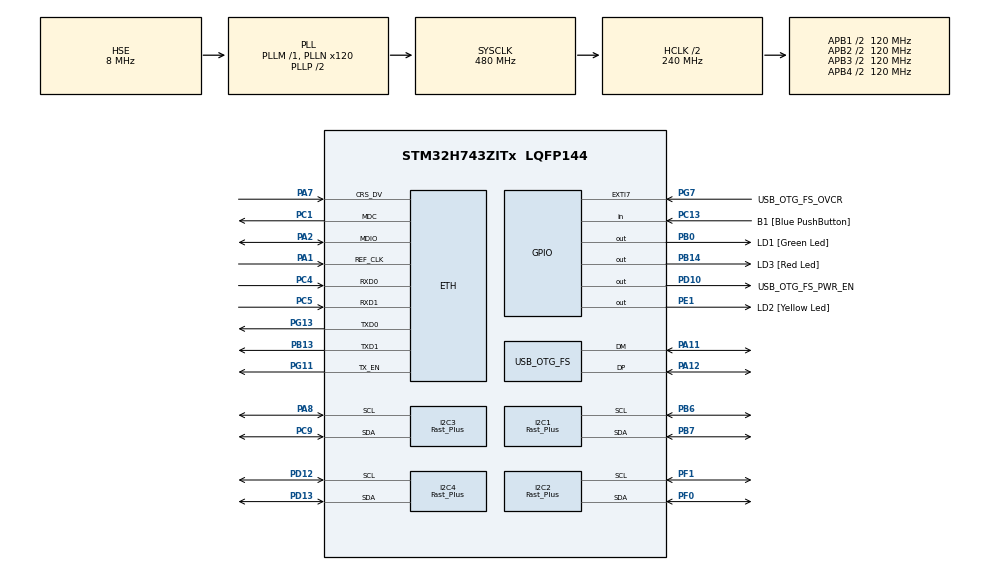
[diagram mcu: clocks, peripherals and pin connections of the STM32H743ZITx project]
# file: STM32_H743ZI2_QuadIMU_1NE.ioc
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Bdma.I2C4_RX.0.Direction=DMA_PERIPH_TO_MEMORY
Bdma.I2C4_RX.0.EventEnable=DISABLE
Bdma.I2C4_RX.0.Instance=BDMA_Channel0
Bdma.I2C4_RX.0.MemDataAlignment=DMA_MDATAALIGN_BYTE
Bdma.I2C4_RX.0.MemInc=DMA_MINC_ENABLE
Bdma.I2C4_RX.0.Mode=DMA_NORMAL
Bdma.I2C4_RX.0.PeriphDataAlignment=DMA_PDATAALIGN_BYTE
Bdma.I2C4_RX.0.PeriphInc=DMA_PINC_DISABLE
Bdma.I2C4_RX.0.Polarity=HAL_DMAMUX_REQ_GEN_RISING
Bdma.I2C4_RX.0.Priority=DMA_PRIORITY_VERY_HIGH
Bdma.I2C4_RX.0.RequestNumber=1
Bdma.I2C4_RX.0.SignalID=NONE
Bdma.I2C4_RX.0.SyncEnable=DISABLE
Bdma.I2C4_RX.0.SyncPolarity=HAL_DMAMUX_SYNC_NO_EVENT
Bdma.I2C4_RX.0.SyncRequestNumber=1
Bdma.I2C4_RX.0.SyncSignalID=NONE
Bdma.Request0=I2C4_RX
Bdma.RequestsNb=1
CORTEX_M7.AccessPermission-Cortex_Memory_Protection_Unit_Region0_Settings=MPU_REGION_FULL_ACCESS
CORTEX_M7.AccessPermission-Cortex_Memory_Protection_Unit_Region1_Settings=MPU_REGION_FULL_ACCESS
CORTEX_M7.BaseAddress-Cortex_Memory_Protection_Unit_Region0_Settings=0x30000000
CORTEX_M7.BaseAddress-Cortex_Memory_Protection_Unit_Region1_Settings=0x38000000
CORTEX_M7.CPU_DCache=Enabled
CORTEX_M7.CPU_ICache=Enabled
CORTEX_M7.DisableExec-Cortex_Memory_Protection_Unit_Region0_Settings=MPU_INSTRUCTION_ACCESS_DISABLE
CORTEX_M7.DisableExec-Cortex_Memory_Protection_Unit_Region1_Settings=MPU_INSTRUCTION_ACCESS_DISABLE
CORTEX_M7.Enable-Cortex_Memory_Protection_Unit_Region0_Settings=MPU_REGION_ENABLE
CORTEX_M7.Enable-Cortex_Memory_Protection_Unit_Region1_Settings=MPU_REGION_ENABLE
CORTEX_M7.IsShareable-Cortex_Memory_Protection_Unit_Region0_Settings=MPU_ACCESS_SHAREABLE
CORTEX_M7.IsShareable-Cortex_Memory_Protection_Unit_Region1_Settings=MPU_ACCESS_SHAREABLE
CORTEX_M7.MPU_Control=MPU_PRIVILEGED_DEFAULT
CORTEX_M7.Size-Cortex_Memory_Protection_Unit_Region0_Settings=MPU_REGION_SIZE_32KB
CORTEX_M7.Size-Cortex_Memory_Protection_Unit_Region1_Settings=MPU_REGION_SIZE_64KB
CORTEX_M7.TypeExtField-Cortex_Memory_Protection_Unit_Region0_Settings=MPU_TEX_LEVEL1
CORTEX_M7.TypeExtField-Cortex_Memory_Protection_Unit_Region1_Settings=MPU_TEX_LEVEL1
Dma.I2C1_RX.1.Direction=DMA_PERIPH_TO_MEMORY
Dma.I2C1_RX.1.EventEnable=DISABLE
Dma.I2C1_RX.1.FIFOMode=DMA_FIFOMODE_DISABLE
Dma.I2C1_RX.1.Instance=DMA1_Stream0
Dma.I2C1_RX.1.MemDataAlignment=DMA_MDATAALIGN_BYTE
Dma.I2C1_RX.1.MemInc=DMA_MINC_ENABLE
Dma.I2C1_RX.1.Mode=DMA_NORMAL
Dma.I2C1_RX.1.PeriphDataAlignment=DMA_PDATAALIGN_BYTE
Dma.I2C1_RX.1.PeriphInc=DMA_PINC_DISABLE
Dma.I2C1_RX.1.Polarity=HAL_DMAMUX_REQ_GEN_RISING
Dma.I2C1_RX.1.Priority=DMA_PRIORITY_VERY_HIGH
Dma.I2C1_RX.1.RequestNumber=1
Dma.I2C1_RX.1.SignalID=NONE
Dma.I2C1_RX.1.SyncEnable=DISABLE
Dma.I2C1_RX.1.SyncPolarity=HAL_DMAMUX_SYNC_NO_EVENT
Dma.I2C1_RX.1.SyncRequestNumber=1
Dma.I2C1_RX.1.SyncSignalID=NONE
Dma.I2C2_RX.0.Direction=DMA_PERIPH_TO_MEMORY
Dma.I2C2_RX.0.EventEnable=DISABLE
Dma.I2C2_RX.0.FIFOMode=DMA_FIFOMODE_DISABLE
Dma.I2C2_RX.0.Instance=DMA1_Stream3
Dma.I2C2_RX.0.MemDataAlignment=DMA_MDATAALIGN_BYTE
Dma.I2C2_RX.0.MemInc=DMA_MINC_ENABLE
Dma.I2C2_RX.0.Mode=DMA_NORMAL
Dma.I2C2_RX.0.PeriphDataAlignment=DMA_PDATAALIGN_BYTE
Dma.I2C2_RX.0.PeriphInc=DMA_PINC_DISABLE
Dma.I2C2_RX.0.Polarity=HAL_DMAMUX_REQ_GEN_RISING
Dma.I2C2_RX.0.Priority=DMA_PRIORITY_VERY_HIGH
Dma.I2C2_RX.0.RequestNumber=1
Dma.I2C2_RX.0.SignalID=NONE
Dma.I2C2_RX.0.SyncEnable=DISABLE
Dma.I2C2_RX.0.SyncPolarity=HAL_DMAMUX_SYNC_NO_EVENT
Dma.I2C2_RX.0.SyncRequestNumber=1
Dma.I2C2_RX.0.SyncSignalID=NONE
Dma.I2C3_RX.2.Direction=DMA_PERIPH_TO_MEMORY
Dma.I2C3_RX.2.EventEnable=DISABLE
Dma.I2C3_RX.2.FIFOMode=DMA_FIFOMODE_DISABLE
Dma.I2C3_RX.2.Instance=DMA2_Stream1
Dma.I2C3_RX.2.MemDataAlignment=DMA_MDATAALIGN_BYTE
Dma.I2C3_RX.2.MemInc=DMA_MINC_ENABLE
Dma.I2C3_RX.2.Mode=DMA_NORMAL
Dma.I2C3_RX.2.PeriphDataAlignment=DMA_PDATAALIGN_BYTE
Dma.I2C3_RX.2.PeriphInc=DMA_PINC_DISABLE
Dma.I2C3_RX.2.Polarity=HAL_DMAMUX_REQ_GEN_RISING
Dma.I2C3_RX.2.Priority=DMA_PRIORITY_VERY_HIGH
Dma.I2C3_RX.2.RequestNumber=1
Dma.I2C3_RX.2.SignalID=NONE
Dma.I2C3_RX.2.SyncEnable=DISABLE
Dma.I2C3_RX.2.SyncPolarity=HAL_DMAMUX_SYNC_NO_EVENT
Dma.I2C3_RX.2.SyncRequestNumber=1
Dma.I2C3_RX.2.SyncSignalID=NONE
Dma.Request0=I2C2_RX
Dma.Request1=I2C1_RX
Dma.Request2=I2C3_RX
ETH.MediaInterface=HAL_ETH_RMII_MODE
I2C1.CustomTiming=Disabled
I2C1.I2C_Speed_Mode=I2C_Fast_Plus
I2C1.Timing=0x0050174F
I2C2.I2C_Speed_Mode=I2C_Fast_Plus
I2C2.Timing=0x0050174F
I2C3.I2C_Speed_Mode=I2C_Fast_Plus
I2C3.Timing=0x0050174F
I2C4.I2C_Speed_Mode=I2C_Fast_Plus
I2C4.Timing=0x0050174F
Mcu.Family=STM32H7
Mcu.Name=STM32H743ZITx
Mcu.Package=LQFP144
NVIC.BDMA_Channel0_IRQn=true\:0\:0\:false\:false\:true\:false\:true\:true
NVIC.DMA1_Stream0_IRQn=true\:0\:0\:false\:false\:true\:false\:true\:true
NVIC.DMA1_Stream3_IRQn=true\:0\:0\:false\:false\:true\:false\:true\:true
NVIC.DMA2_Stream1_IRQn=true\:0\:0\:false\:false\:true\:false\:true\:true
NVIC.I2C1_EV_IRQn=true\:1\:0\:true\:false\:true\:true\:true\:true
NVIC.I2C2_EV_IRQn=true\:2\:0\:true\:false\:true\:true\:true\:true
NVIC.I2C3_EV_IRQn=true\:3\:0\:true\:false\:true\:true\:true\:true
NVIC.I2C4_EV_IRQn=true\:4\:0\:true\:false\:true\:true\:true\:true
NVIC.PriorityGroup=NVIC_PRIORITYGROUP_4
NVIC.TIM2_IRQn=true\:5\:0\:true\:false\:true\:true\:true\:true
PA1.Mode=RMII
PA1.Signal=ETH_REF_CLK
PA11.Mode=Device_Only
PA11.Signal=USB_OTG_FS_DM
PA12.Mode=Device_Only
PA12.Signal=USB_OTG_FS_DP
PA2.Mode=RMII
PA2.Signal=ETH_MDIO
PA7.Mode=RMII
PA7.Signal=ETH_CRS_DV
PA8.GPIO_Speed=GPIO_SPEED_FREQ_VERY_HIGH
PA8.Mode=I2C
PA8.Signal=I2C3_SCL
PB0.GPIO_Label=LD1 [Green Led]
PB0.Signal=GPIO_Output
PB13.Mode=RMII
PB13.Signal=ETH_TXD1
PB14.GPIO_Label=LD3 [Red Led]
PB14.Signal=GPIO_Output
PB6.GPIO_Speed=GPIO_SPEED_FREQ_VERY_HIGH
PB6.Mode=I2C
PB6.Signal=I2C1_SCL
PB7.GPIO_Speed=GPIO_SPEED_FREQ_VERY_HIGH
PB7.Mode=I2C
PB7.Signal=I2C1_SDA
PC1.Mode=RMII
PC1.Signal=ETH_MDC
PC13.GPIO_Label=B1 [Blue PushButton]
PC13.Signal=GPIO_Input
PC14-OSC32_IN\ (OSC32_IN).Mode=LSE-External-Oscillator
PC14-OSC32_IN\ (OSC32_IN).Signal=RCC_OSC32_IN
PC15-OSC32_OUT\ (OSC32_OUT).Mode=LSE-External-Oscillator
PC15-OSC32_OUT\ (OSC32_OUT).Signal=RCC_OSC32_OUT
PC4.Mode=RMII
PC4.Signal=ETH_RXD0
PC5.Mode=RMII
PC5.Signal=ETH_RXD1
PC9.GPIO_Speed=GPIO_SPEED_FREQ_VERY_HIGH
PC9.Mode=I2C
PC9.Signal=I2C3_SDA
PD10.GPIO_Label=USB_OTG_FS_PWR_EN
PD10.Signal=GPIO_Output
PD12.GPIO_Speed=GPIO_SPEED_FREQ_VERY_HIGH
PD12.Mode=I2C
PD12.Signal=I2C4_SCL
PD13.GPIO_Speed=GPIO_SPEED_FREQ_VERY_HIGH
PD13.Mode=I2C
PD13.Signal=I2C4_SDA
PD8.GPIO_Label=STLINK_RX
PD8.Signal=USART3_TX
PD9.GPIO_Label=STLINK_TX
PD9.Signal=USART3_RX
PE1.GPIO_Label=LD2 [Yellow Led]
PE1.Signal=GPIO_Output
PF0.GPIO_Speed=GPIO_SPEED_FREQ_VERY_HIGH
PF0.Mode=I2C
PF0.Signal=I2C2_SDA
PF1.GPIO_Speed=GPIO_SPEED_FREQ_VERY_HIGH
PF1.Mode=I2C
PF1.Signal=I2C2_SCL
PG11.Mode=RMII
PG11.Signal=ETH_TX_EN
PG13.Mode=RMII
PG13.Signal=ETH_TXD0
PG7.GPIO_Label=USB_OTG_FS_OVCR
PG7.Signal=GPXTI7
PH0-OSC_IN\ (PH0).Mode=HSE-External-Oscillator
PH0-OSC_IN\ (PH0).Signal=RCC_OSC_IN
PH1-OSC_OUT\ (PH1).Mode=HSE-External-Oscillator
PH1-OSC_OUT\ (PH1).Signal=RCC_OSC_OUT
ProjectManager.HeapSize=0x200
ProjectManager.StackSize=0x400
ProjectManager.TargetToolchain=STM32CubeIDE
RCC.ADCFreq_Value=16125000
RCC.APB1Freq_Value=120000000
RCC.APB2Freq_Value=120000000
RCC.APB3Freq_Value=120000000
RCC.APB4Freq_Value=120000000
RCC.CortexFreq_Value=480000000
RCC.D1PPRE=RCC_APB3_DIV2
RCC.D2PPRE1=RCC_APB1_DIV2
RCC.D2PPRE2=RCC_APB2_DIV2
RCC.D3PPRE=RCC_APB4_DIV2
RCC.DIVM1=1
RCC.DIVN1=120
RCC.DIVQ1=15
RCC.HCLKFreq_Value=240000000
RCC.HPRE=RCC_HCLK_DIV2
RCC.HSE_VALUE=8000000
RCC.PLL2FRACN=0
RCC.PLL3FRACN=0
RCC.PLLFRACN=0
RCC.PLLSourceVirtual=RCC_PLLSOURCE_HSE
RCC.PWR_Regulator_Voltage_Scale=PWR_REGULATOR_VOLTAGE_SCALE0
RCC.SYSCLKFreq_VALUE=480000000
RCC.SYSCLKSource=RCC_SYSCLKSOURCE_PLLCLK
RCC.USBCLockSelection=RCC_USBCLKSOURCE_HSI48
RCC.USBFreq_Value=48000000
TIM2.AutoReloadPreload=TIM_AUTORELOAD_PRELOAD_DISABLE
TIM2.Period=1000-1
TIM2.Prescaler=480-1
USB_OTG_FS.VirtualMode=Device_Only
VP_TIM2_VS_ClockSourceINT.Mode=Internal
board=NUCLEO-H743ZI2

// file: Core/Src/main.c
/* USER CODE BEGIN Header */
/**
  ******************************************************************************
  * @file           : main.c
  * @brief          : Main program body
  ******************************************************************************
  * @attention
  *
  * Copyright (c) 2024 STMicroelectronics.
  * All rights reserved.
  *
  * This software is licensed under terms that can be found in the LICENSE file
  * in the root directory of this software component.
  * If no LICENSE file comes with this software, it is provided AS-IS.
  *
  ******************************************************************************
  */
/* USER CODE END Header */
#include "main.h"
#include "bdma.h"
#include "dma.h"
#include "eth.h"
#include "i2c.h"
#include "tim.h"
#include "usb_otg.h"
#include "gpio.h"

/* USER CODE BEGIN Includes */
#include "imu_algorithms.h"

#include "ioif_mpu6050_first.h"
#include "ioif_mpu6050_second.h"
#include "ioif_mpu6050_third.h"
#include "ioif_mpu6050_fourth.h"

/* USER CODE END Includes */

void SystemClock_Config(void);
static void MPU_Config(void);
/* USER CODE BEGIN PFP */

static void InitValueSetting(IMU_FuzzyData_t* imuFuzzyData, IMU_NormData_t* imuNormData, IMU_GaitData_t* imuGaitData, IMU_ThresData_t* imuThresData);
static void SetInitialAngle(IMU_AngleData_t* imuAngleData, IMU_NormData_t* imuNormData, float initialAngle);
static void GetInitialAngle_IMU1(IOIF_6AxisData1_t* imu6AxisData, IMU_SensorData_t* imuSensorData, IMU_AngleData_t* imuAngleData, IMU_NormData_t* imuNormData, IMU_AttachCase_t imuAttachCase);
static void GetInitialAngle_IMU2(IOIF_6AxisData2_t* imu6AxisData, IMU_SensorData_t* imuSensorData, IMU_AngleData_t* imuAngleData, IMU_NormData_t* imuNormData, IMU_AttachCase_t imuAttachCase);
static void GetInitialAngle_IMU3(IOIF_6AxisData3_t* imu6AxisData, IMU_SensorData_t* imuSensorData, IMU_AngleData_t* imuAngleData, IMU_NormData_t* imuNormData, IMU_AttachCase_t imuAttachCase);
static void GetInitialAngle_IMU4(IOIF_6AxisData4_t* imu6AxisData, IMU_SensorData_t* imuSensorData, IMU_AngleData_t* imuAngleData, IMU_NormData_t* imuNormData, IMU_AttachCase_t imuAttachCase);
static void ResetDataObj(void);
static void UpdateSensorRawData1(IMU_SensorData_t* imuSensorData, IOIF_6AxisData1_t* imu6AxisData, IMU_AttachCase_t imuAttachCase);
static void UpdateSensorRawData2(IMU_SensorData_t* imuSensorData, IOIF_6AxisData2_t* imu6AxisData, IMU_AttachCase_t imuAttachCase);
static void UpdateSensorRawData3(IMU_SensorData_t* imuSensorData, IOIF_6AxisData3_t* imu6AxisData, IMU_AttachCase_t imuAttachCase);
static void UpdateSensorRawData4(IMU_SensorData_t* imuSensorData, IOIF_6AxisData4_t* imu6AxisData, IMU_AttachCase_t imuAttachCase);
static void RunTvcfFilter(IMU_SensorData_t* imuSensorData, IMU_AngleData_t* imuAngleData, IMU_FuzzyData_t* imuFuzzyData, float samplingPeriod, IMU_AttachCase_t imuAttachCase);
static void SetUsedDegVel(IMU_AngleData_t* imuAngleData);
static int RunIMU(void);
static int RunTotalIMUAlgorithm(void);
void us_Delay(uint32_t us_delay);

/* USER CODE END PFP */

/* USER CODE BEGIN 0 */

IOIF_6AxisData1_t 	mpu6050DataObj1;
IOIF_6AxisData2_t 	mpu6050DataObj2;
IOIF_6AxisData3_t 	mpu6050DataObj3;
IOIF_6AxisData4_t 	mpu6050DataObj4;

uint32_t codeTime = 0;				// microSecond

uint8_t err1 = 0;
uint8_t err2 = 0;
uint8_t err3 = 0;
uint8_t err4 = 0;

uint32_t errSum1 = 0;
uint32_t errSum2 = 0;
uint32_t errSum3 = 0;
uint32_t errSum4 = 0;

uint16_t msTime = 0;
uint32_t totalElapsedTime = 0;		// Second

/* For IMU Algorithms */

/* ----------- For 1st IMU - I2C1 ----------- */
IMU_GaitData_t		imuGaitDataObj1;
IMU_AngleData_t 	imuAngleDataObj1;

static IMU_AttachCase_t ATTACH_CASE_SEL_1;

static IMU_SensorData_t 	imuSensorDataObj1;
static IMU_FuzzyData_t		imuFuzzyDataObj1;
static IMU_NormData_t 		imuNormDataObj1;
static IMU_ThresData_t		imuThresDataObj1;

static float wcDebug1 = 0.0;

/* ----------- For 2nd IMU - I2C2 ----------- */
IMU_GaitData_t		imuGaitDataObj2;
IMU_AngleData_t 	imuAngleDataObj2;

static IMU_AttachCase_t ATTACH_CASE_SEL_2;

static IMU_SensorData_t 	imuSensorDataObj2;
static IMU_FuzzyData_t		imuFuzzyDataObj2;
static IMU_NormData_t 		imuNormDataObj2;
static IMU_ThresData_t		imuThresDataObj2;

static float wcDebug2 = 0.0;

/* ----------- For 3rd IMU - I2C3 ----------- */
IMU_GaitData_t		imuGaitDataObj3;
IMU_AngleData_t 	imuAngleDataObj3;

static IMU_AttachCase_t ATTACH_CASE_SEL_3;

static IMU_SensorData_t 	imuSensorDataObj3;
static IMU_FuzzyData_t		imuFuzzyDataObj3;
static IMU_NormData_t 		imuNormDataObj3;
static IMU_ThresData_t		imuThresDataObj3;

static float wcDebug3 = 0.0;

/* ----------- For 4th IMU - I2C4 ----------- */
IMU_GaitData_t		imuGaitDataObj4;
IMU_AngleData_t 	imuAngleDataObj4;

static IMU_AttachCase_t ATTACH_CASE_SEL_4;

static IMU_SensorData_t 	imuSensorDataObj4;
static IMU_FuzzyData_t		imuFuzzyDataObj4;
static IMU_NormData_t 		imuNormDataObj4;
static IMU_ThresData_t		imuThresDataObj4;

static float wcDebug4 = 0.0;

static uint32_t breakRT = 0;

/* USER CODE END 0 */

int main(void)
{

  /* MPU Configuration--------------------------------------------------------*/
  MPU_Config();
/* Enable the CPU Cache */

  /* Enable I-Cache---------------------------------------------------------*/
  SCB_EnableICache();

  /* Enable D-Cache---------------------------------------------------------*/
  SCB_EnableDCache();

  /* MCU Configuration--------------------------------------------------------*/

  /* Reset of all peripherals, Initializes the Flash interface and the Systick. */
  HAL_Init();

  /* Configure the system clock */
  SystemClock_Config();

  /* Initialize all configured peripherals */
  MX_GPIO_Init();
  MX_DMA_Init();
  MX_BDMA_Init();
  MX_USB_OTG_FS_PCD_Init();
  MX_I2C2_Init();
  MX_TIM2_Init();
  MX_I2C1_Init();
  MX_I2C4_Init();
  MX_ETH_Init();
  MX_I2C3_Init();
  /* USER CODE BEGIN 2 */

  CoreDebug->DEMCR &= ~CoreDebug_DEMCR_TRCENA_Msk;
  CoreDebug->DEMCR |= CoreDebug_DEMCR_TRCENA_Msk;
  DWT->CTRL &= ~DWT_CTRL_CYCCNTENA_Msk;
  DWT->CTRL |= DWT_CTRL_CYCCNTENA_Msk;
  DWT->CYCCNT = 0;

  // 1:LEFT thigh, 2:RIGHT thigh, 3:LEFT tibia, 4:RIGHT tibia //

  /* Initialize the IMUs */
  IOIF_Init6Axis1(&hi2c1);
  IOIF_Init6Axis2(&hi2c2);
  IOIF_Init6Axis3(&hi2c3);
  IOIF_Init6Axis4(&hi2c4);

  /* For IMU Algorithms */
  /* Initial Setting for the IMU */
  ATTACH_CASE_SEL_1 = IMU_LEFT_SAGITAL;
  ATTACH_CASE_SEL_2 = IMU_RIGHT_SAGITAL;
  ATTACH_CASE_SEL_3 = IMU_LEFT_SAGITAL;
  ATTACH_CASE_SEL_4 = IMU_RIGHT_SAGITAL;

  /* Reset and Initial setting */
  ResetDataObj();
  InitValueSetting(&imuFuzzyDataObj1, &imuNormDataObj1, &imuGaitDataObj1, &imuThresDataObj1);
  InitValueSetting(&imuFuzzyDataObj2, &imuNormDataObj2, &imuGaitDataObj2, &imuThresDataObj2);
  InitValueSetting(&imuFuzzyDataObj3, &imuNormDataObj3, &imuGaitDataObj3, &imuThresDataObj3);
  InitValueSetting(&imuFuzzyDataObj4, &imuNormDataObj4, &imuGaitDataObj4, &imuThresDataObj4);

  /* Get initial angle at Standing state */
  GetInitialAngle_IMU1(&mpu6050DataObj1, &imuSensorDataObj1, &imuAngleDataObj1, &imuNormDataObj1, ATTACH_CASE_SEL_1);
  GetInitialAngle_IMU2(&mpu6050DataObj2, &imuSensorDataObj2, &imuAngleDataObj2, &imuNormDataObj2, ATTACH_CASE_SEL_2);
  GetInitialAngle_IMU3(&mpu6050DataObj3, &imuSensorDataObj3, &imuAngleDataObj3, &imuNormDataObj3, ATTACH_CASE_SEL_3);
  GetInitialAngle_IMU4(&mpu6050DataObj4, &imuSensorDataObj4, &imuAngleDataObj4, &imuNormDataObj4, ATTACH_CASE_SEL_4);
  /* ------------------------------------------------------------------------------------------------------------------ */

  /* Start the TIMER INTERRUPT */
  HAL_TIM_Base_Start_IT(&htim2);

  /* USER CODE END 2 */

  /* Infinite loop */
  while (1)
  {

  }
}

void SystemClock_Config(void)
{
  RCC_OscInitTypeDef RCC_OscInitStruct = {0};
  RCC_ClkInitTypeDef RCC_ClkInitStruct = {0};

  /** Supply configuration update enable
  */
  HAL_PWREx_ConfigSupply(PWR_LDO_SUPPLY);

  /** Configure the main internal regulator output voltage
  */
  __HAL_PWR_VOLTAGESCALING_CONFIG(PWR_REGULATOR_VOLTAGE_SCALE1);

  while(!__HAL_PWR_GET_FLAG(PWR_FLAG_VOSRDY)) {}

  __HAL_RCC_SYSCFG_CLK_ENABLE();
  __HAL_PWR_VOLTAGESCALING_CONFIG(PWR_REGULATOR_VOLTAGE_SCALE0);

  while(!__HAL_PWR_GET_FLAG(PWR_FLAG_VOSRDY)) {}

  /** Initializes the RCC Oscillators according to the specified parameters
  * in the RCC_OscInitTypeDef structure.
  */
  RCC_OscInitStruct.OscillatorType = RCC_OSCILLATORTYPE_HSI48|RCC_OSCILLATORTYPE_HSE;
  RCC_OscInitStruct.HSEState = RCC_HSE_ON;
  RCC_OscInitStruct.HSI48State = RCC_HSI48_ON;
  RCC_OscInitStruct.PLL.PLLState = RCC_PLL_ON;
  RCC_OscInitStruct.PLL.PLLSource = RCC_PLLSOURCE_HSE;
  RCC_OscInitStruct.PLL.PLLM = 1;
  RCC_OscInitStruct.PLL.PLLN = 120;
  RCC_OscInitStruct.PLL.PLLP = 2;
  RCC_OscInitStruct.PLL.PLLQ = 15;
  RCC_OscInitStruct.PLL.PLLR = 2;
  RCC_OscInitStruct.PLL.PLLRGE = RCC_PLL1VCIRANGE_3;
  RCC_OscInitStruct.PLL.PLLVCOSEL = RCC_PLL1VCOWIDE;
  RCC_OscInitStruct.PLL.PLLFRACN = 0;
  if (HAL_RCC_OscConfig(&RCC_OscInitStruct) != HAL_OK)
  {
    Error_Handler();
  }

  /** Initializes the CPU, AHB and APB buses clocks
  */
  RCC_ClkInitStruct.ClockType = RCC_CLOCKTYPE_HCLK|RCC_CLOCKTYPE_SYSCLK
                              |RCC_CLOCKTYPE_PCLK1|RCC_CLOCKTYPE_PCLK2
                              |RCC_CLOCKTYPE_D3PCLK1|RCC_CLOCKTYPE_D1PCLK1;
  RCC_ClkInitStruct.SYSCLKSource = RCC_SYSCLKSOURCE_PLLCLK;
  RCC_ClkInitStruct.SYSCLKDivider = RCC_SYSCLK_DIV1;
  RCC_ClkInitStruct.AHBCLKDivider = RCC_HCLK_DIV2;
  RCC_ClkInitStruct.APB3CLKDivider = RCC_APB3_DIV2;
  RCC_ClkInitStruct.APB1CLKDivider = RCC_APB1_DIV2;
  RCC_ClkInitStruct.APB2CLKDivider = RCC_APB2_DIV2;
  RCC_ClkInitStruct.APB4CLKDivider = RCC_APB4_DIV2;

  if (HAL_RCC_ClockConfig(&RCC_ClkInitStruct, FLASH_LATENCY_4) != HAL_OK)
  {
    Error_Handler();
  }
}

/* USER CODE BEGIN 4 */

void HAL_TIM_PeriodElapsedCallback(TIM_HandleTypeDef *htim)
{

	if (htim->Instance == htim2.Instance){
		CoreDebug->DEMCR |= CoreDebug_DEMCR_TRCENA_Msk;
		DWT->CYCCNT = 0;
		DWT->CTRL |= DWT_CTRL_CYCCNTENA_Msk;

		/* Choose the Function you want to RUN */
//		RunIMU();
		RunTotalIMUAlgorithm();
		/* ----------------------------------- */

		if (msTime == 1000){
			msTime = 0;
			totalElapsedTime++;
		}

		/* Code End */
		codeTime = DWT->CYCCNT/480;
		msTime++;

		if (codeTime > 1000){
			breakRT++;
		}
	}
}

/* Private functions */

/* Setting for initial parameters */
static void InitValueSetting(IMU_FuzzyData_t* imuFuzzyData, IMU_NormData_t* imuNormData, IMU_GaitData_t* imuGaitData, IMU_ThresData_t* imuThresData)
{
	imuFuzzyData->wl 				= 0.5;
	imuFuzzyData->wh 				= 10.0;
	imuFuzzyData->var[0] 			= 8.0;
	imuFuzzyData->var[1] 			= 30.0;
	imuFuzzyData->var[2] 			= 5.8;
	imuFuzzyData->var[3] 			= 320.0;

	imuNormData->ampDeg 			= 30.0; 	//30
	imuNormData->ampDegLPF[0]		= 30.0;
	imuNormData->ampDegLPF[1]		= 30.0;

	imuNormData->ampVel 			= 400.0; 	//400
	imuNormData->ampVelLPF[0]		= 400.0;
	imuNormData->ampVelLPF[1]		= 400.0;

	imuGaitData->gaitPeriod 		= 1000;
	imuGaitData->gaitPhase 			= -100.0;
	imuGaitData->gaitPhasePre   	= -100.0;

	imuThresData->degThStart		= 12.0;
	imuThresData->velThStart		= 20.0;
	imuThresData->degThStop 		= 3.0;
	imuThresData->velThStop 		= 12.0;
}

/* Setting for Initial values of "angle" variables after get initial thigh angle */
static void SetInitialAngle(IMU_AngleData_t* imuAngleData, IMU_NormData_t* imuNormData, float initialAngle)
{
	imuAngleData->degAccFiltered 	= initialAngle;
	imuAngleData->degGyrFiltered	= 0.0;

	imuAngleData->degLPF1st[0] 		= initialAngle;
	imuAngleData->degLPF1st[1] 		= initialAngle;
	imuAngleData->degLPF2nd[0] 		= initialAngle;
	imuAngleData->degLPF2nd[1] 		= initialAngle;
	imuNormData->degOri 	 		= initialAngle;
}

/*
 *Function to calculate the initial thigh angle - IMU case
*/
static void GetInitialAngle_IMU1(IOIF_6AxisData1_t* imu6AxisData, IMU_SensorData_t* imuSensorData, IMU_AngleData_t* imuAngleData, IMU_NormData_t* imuNormData, IMU_AttachCase_t imuAttachCase)
{
	uint8_t tTotalSamples 	= 100;
	uint8_t tDataCheck_IMU	= 0;
	uint8_t tRealSamples	= 0;
	float tAccumulatedAngle = 0.0;
	float tInitThighAngle	= 0.0;
	float tImuAngle			= 0.0;

	for (uint8_t i = 1; i <= tTotalSamples; i++) {
        for (uint16_t j = 0; j < 30000; j++) {
        	// For delay of DMA reading
        }

        tDataCheck_IMU = IOIF_Get6AxisValue1(imu6AxisData);

        if (tDataCheck_IMU == 0){
        	imuSensorData->accX[0] = imu6AxisData->accX;
        	imuSensorData->accY[0] = imu6AxisData->accY;
        	imuSensorData->gyrZ[0] = imu6AxisData->gyrZ;

            tImuAngle = IMU_AttachCaseSetting(imuSensorData, imuAttachCase);
            tAccumulatedAngle += tImuAngle;

            tRealSamples++;
        }
    }

	tInitThighAngle = tAccumulatedAngle / tRealSamples;
	imuAngleData->initAngle = tInitThighAngle;
    SetInitialAngle(imuAngleData, imuNormData, tInitThighAngle);
}

/*
 *Function to calculate the initial thigh angle - IMU case
*/
static void GetInitialAngle_IMU2(IOIF_6AxisData2_t* imu6AxisData, IMU_SensorData_t* imuSensorData, IMU_AngleData_t* imuAngleData, IMU_NormData_t* imuNormData, IMU_AttachCase_t imuAttachCase)
{
	uint8_t tTotalSamples 	= 100;
	uint8_t tDataCheck_IMU	= 0;
	uint8_t tRealSamples	= 0;
	float tAccumulatedAngle = 0.0;
	float tInitThighAngle	= 0.0;
	float tImuAngle			= 0.0;

	for (uint8_t i = 1; i <= tTotalSamples; i++) {
        for (uint16_t j = 0; j < 30000; j++) {
        	// For delay of DMA reading
        }

        tDataCheck_IMU = IOIF_Get6AxisValue2(imu6AxisData);

        if (tDataCheck_IMU == 0){
        	imuSensorData->accX[0] = imu6AxisData->accX;
        	imuSensorData->accY[0] = imu6AxisData->accY;
        	imuSensorData->gyrZ[0] = imu6AxisData->gyrZ;

            tImuAngle = IMU_AttachCaseSetting(imuSensorData, imuAttachCase);
            tAccumulatedAngle += tImuAngle;

            tRealSamples++;
        }
    }

	tInitThighAngle = tAccumulatedAngle / tRealSamples;
	imuAngleData->initAngle = tInitThighAngle;
    SetInitialAngle(imuAngleData, imuNormData, tInitThighAngle);
}

/*
 *Function to calculate the initial thigh angle - IMU case
*/
static void GetInitialAngle_IMU3(IOIF_6AxisData3_t* imu6AxisData, IMU_SensorData_t* imuSensorData, IMU_AngleData_t* imuAngleData, IMU_NormData_t* imuNormData, IMU_AttachCase_t imuAttachCase)
{
	uint8_t tTotalSamples 	= 100;
	uint8_t tDataCheck_IMU	= 0;
	uint8_t tRealSamples	= 0;
	float tAccumulatedAngle = 0.0;
	float tInitThighAngle	= 0.0;
	float tImuAngle			= 0.0;

	for (uint8_t i = 1; i <= tTotalSamples; i++) {
        for (uint16_t j = 0; j < 30000; j++) {
        	// For delay of DMA reading
        }

        tDataCheck_IMU = IOIF_Get6AxisValue3(imu6AxisData);

        if (tDataCheck_IMU == 0){
        	imuSensorData->accX[0] = imu6AxisData->accX;
        	imuSensorData->accY[0] = imu6AxisData->accY;
        	imuSensorData->gyrZ[0] = imu6AxisData->gyrZ;

            tImuAngle = IMU_AttachCaseSetting(imuSensorData, imuAttachCase);
            tAccumulatedAngle += tImuAngle;

            tRealSamples++;
        }
    }

	tInitThighAngle = tAccumulatedAngle / tRealSamples;
	imuAngleData->initAngle = tInitThighAngle;
    SetInitialAngle(imuAngleData, imuNormData, tInitThighAngle);
}

/*
 *Function to calculate the initial thigh angle - IMU case
*/
static void GetInitialAngle_IMU4(IOIF_6AxisData4_t* imu6AxisData, IMU_SensorData_t* imuSensorData, IMU_AngleData_t* imuAngleData, IMU_NormData_t* imuNormData, IMU_AttachCase_t imuAttachCase)
{
	uint8_t tTotalSamples 	= 100;
	uint8_t tDataCheck_IMU	= 0;
	uint8_t tRealSamples	= 0;
	float tAccumulatedAngle = 0.0;
	float tInitThighAngle	= 0.0;
	float tImuAngle			= 0.0;

	for (uint8_t i = 1; i <= tTotalSamples; i++) {
        for (uint16_t j = 0; j < 30000; j++) {
        	// For delay of DMA reading
        }

        tDataCheck_IMU = IOIF_Get6AxisValue4(imu6AxisData);

        if (tDataCheck_IMU == 0){
        	imuSensorData->accX[0] = imu6AxisData->accX;
        	imuSensorData->accY[0] = imu6AxisData->accY;
        	imuSensorData->gyrZ[0] = imu6AxisData->gyrZ;

            tImuAngle = IMU_AttachCaseSetting(imuSensorData, imuAttachCase);
            tAccumulatedAngle += tImuAngle;

            tRealSamples++;
        }
    }

	tInitThighAngle = tAccumulatedAngle / tRealSamples;
	imuAngleData->initAngle = tInitThighAngle;
    SetInitialAngle(imuAngleData, imuNormData, tInitThighAngle);
}

static void ResetDataObj(void)
{
	imuSensorDataObj1 		= 	(IMU_SensorData_t){0};
	imuFuzzyDataObj1 		= 	(IMU_FuzzyData_t){0};
	imuAngleDataObj1		=   (IMU_AngleData_t){0};
	imuNormDataObj1 		= 	(IMU_NormData_t){0};
	imuGaitDataObj1 		= 	(IMU_GaitData_t){0};
	imuThresDataObj1 		= 	(IMU_ThresData_t){0};
	wcDebug1					= 	0.0;

	imuSensorDataObj2 		= 	(IMU_SensorData_t){0};
	imuFuzzyDataObj2 		= 	(IMU_FuzzyData_t){0};
	imuAngleDataObj2		=   (IMU_AngleData_t){0};
	imuNormDataObj2 		= 	(IMU_NormData_t){0};
	imuGaitDataObj2 		= 	(IMU_GaitData_t){0};
	imuThresDataObj2 		= 	(IMU_ThresData_t){0};
	wcDebug2					= 	0.0;
}

/*
*The function UpdateSensorRawData updates the IMU raw values.
*/
static void UpdateSensorRawData1(IMU_SensorData_t* imuSensorData, IOIF_6AxisData1_t* imu6AxisData, IMU_AttachCase_t imuAttachCase)
{
	imuSensorData->accX[0] = imu6AxisData->accX;
	imuSensorData->accY[0] = imu6AxisData->accY;
	imuSensorData->gyrZ[0] = imu6AxisData->gyrZ;

	if (imuAttachCase == IMU_LEFT_SAGITAL){
		imuSensorData->gyrZ[0] = (-1) * (imu6AxisData->gyrZ); 			// For Negative Gyro case (Maybe LEFT case)
	}
	else if (imuAttachCase == IMU_RIGHT_SAGITAL){
		imuSensorData->gyrZ[0] = imu6AxisData->gyrZ; 					// For Positive Gyro case (Maybe RIGHT case)
	}
}

/*
*The function UpdateSensorRawData updates the IMU raw values.
*/
static void UpdateSensorRawData2(IMU_SensorData_t* imuSensorData, IOIF_6AxisData2_t* imu6AxisData, IMU_AttachCase_t imuAttachCase)
{
	imuSensorData->accX[0] = imu6AxisData->accX;
	imuSensorData->accY[0] = imu6AxisData->accY;
	imuSensorData->gyrZ[0] = imu6AxisData->gyrZ;

	if (imuAttachCase == IMU_LEFT_SAGITAL){
		imuSensorData->gyrZ[0] = (-1) * (imu6AxisData->gyrZ); 			// For Negative Gyro case (Maybe LEFT case)
	}
	else if (imuAttachCase == IMU_RIGHT_SAGITAL){
		imuSensorData->gyrZ[0] = imu6AxisData->gyrZ; 					// For Positive Gyro case (Maybe RIGHT case)
	}
}

/*
*The function UpdateSensorRawData updates the IMU raw values.
*/
static void UpdateSensorRawData3(IMU_SensorData_t* imuSensorData, IOIF_6AxisData3_t* imu6AxisData, IMU_AttachCase_t imuAttachCase)
{
	imuSensorData->accX[0] = imu6AxisData->accX;
	imuSensorData->accY[0] = imu6AxisData->accY;
	imuSensorData->gyrZ[0] = imu6AxisData->gyrZ;

	if (imuAttachCase == IMU_LEFT_SAGITAL){
		imuSensorData->gyrZ[0] = (-1) * (imu6AxisData->gyrZ); 			// For Negative Gyro case (Maybe LEFT case)
	}
	else if (imuAttachCase == IMU_RIGHT_SAGITAL){
		imuSensorData->gyrZ[0] = imu6AxisData->gyrZ; 					// For Positive Gyro case (Maybe RIGHT case)
	}
}

/*
*The function UpdateSensorRawData updates the IMU raw values.
*/
static void UpdateSensorRawData4(IMU_SensorData_t* imuSensorData, IOIF_6AxisData4_t* imu6AxisData, IMU_AttachCase_t imuAttachCase)
{
	imuSensorData->accX[0] = imu6AxisData->accX;
	imuSensorData->accY[0] = imu6AxisData->accY;
	imuSensorData->gyrZ[0] = imu6AxisData->gyrZ;

	if (imuAttachCase == IMU_LEFT_SAGITAL){
		imuSensorData->gyrZ[0] = (-1) * (imu6AxisData->gyrZ); 			// For Negative Gyro case (Maybe LEFT case)
	}
	else if (imuAttachCase == IMU_RIGHT_SAGITAL){
		imuSensorData->gyrZ[0] = imu6AxisData->gyrZ; 					// For Positive Gyro case (Maybe RIGHT case)
	}
}

/*
 *Function to execute the time-varying complementary filter (with Fuzzy Logic - wc)
*/
static void RunTvcfFilter(IMU_SensorData_t* imuSensorData, IMU_AngleData_t* imuAngleData, IMU_FuzzyData_t* imuFuzzyData, float samplingPeriod, IMU_AttachCase_t imuAttachCase)
{
	/* Apply time-varying complementary filter on the sensor data using fuzzy logic(wc) and update the thigh angle parameters */
	IMU_RunTVCF(imuSensorData, imuAngleData, imuFuzzyData->wc, samplingPeriod, imuAttachCase);

	/* Update the unfiltered thigh angle to be the same as the filtered thigh angle */
	imuAngleData->degTvcf[0] = imuAngleData->degTvcfFiltered;
	imuAngleData->velRaw[0] = (imuAngleData->degTvcf[0] - imuAngleData->degTvcf[1]) / IMU_CONTROL_PERIOD;
}

/*
 *Function to select finally used deg&vel value before filtering
*/
static void SetUsedDegVel(IMU_AngleData_t* imuAngleData)
{
	imuAngleData->degFinal = imuAngleData->degTvcf[0] - imuAngleData->initAngle;
	imuAngleData->velFinal = imuAngleData->velRaw[0];
}

/* Total Algorithm Function */
static int RunIMU(void)
{
	err1 = IOIF_Get6AxisValue1(&mpu6050DataObj1);
	us_Delay(200);
	err2 = IOIF_Get6AxisValue2(&mpu6050DataObj2);
	us_Delay(200);
	err3 = IOIF_Get6AxisValue3(&mpu6050DataObj3);
	us_Delay(200);
	err4 = IOIF_Get6AxisValue4(&mpu6050DataObj4);
	us_Delay(200);

	if (err1 != 0){
		errSum1++;
	}
	if (err2 != 0){
		errSum2++;
	}
	if (err3 != 0){
		errSum3++;
	}
	if (err4 != 0){
		errSum4++;
	}

	return 0;
}

static int RunTotalIMUAlgorithm(void)
{
	IMU_UpdateBuffer(&imuSensorDataObj1, &imuAngleDataObj1, &imuGaitDataObj1, &imuNormDataObj1);
	IMU_UpdateBuffer(&imuSensorDataObj2, &imuAngleDataObj2, &imuGaitDataObj2, &imuNormDataObj2);
	IMU_UpdateBuffer(&imuSensorDataObj3, &imuAngleDataObj3, &imuGaitDataObj3, &imuNormDataObj3);
	IMU_UpdateBuffer(&imuSensorDataObj4, &imuAngleDataObj4, &imuGaitDataObj4, &imuNormDataObj4);

	err1 = IOIF_Get6AxisValue1(&mpu6050DataObj1);
	us_Delay(200);
	err2 = IOIF_Get6AxisValue2(&mpu6050DataObj2);
	us_Delay(200);
	err3 = IOIF_Get6AxisValue3(&mpu6050DataObj3);
	us_Delay(200);
	err4 = IOIF_Get6AxisValue4(&mpu6050DataObj4);
	us_Delay(200);

	if (err1 != 0){
		errSum1++;
	}
	if (err2 != 0){
		errSum2++;
	}
	if (err3 != 0){
		errSum3++;
	}
	if (err4 != 0){
		errSum4++;
	}

	UpdateSensorRawData1(&imuSensorDataObj1, &mpu6050DataObj1, ATTACH_CASE_SEL_1);
	UpdateSensorRawData2(&imuSensorDataObj2, &mpu6050DataObj2, ATTACH_CASE_SEL_2);
	UpdateSensorRawData3(&imuSensorDataObj3, &mpu6050DataObj3, ATTACH_CASE_SEL_3);
	UpdateSensorRawData4(&imuSensorDataObj4, &mpu6050DataObj4, ATTACH_CASE_SEL_4);

	IMU_CalculateFuzzyInput(&imuSensorDataObj1, &imuFuzzyDataObj1);
	IMU_CalculateFuzzyInput(&imuSensorDataObj2, &imuFuzzyDataObj2);
	IMU_CalculateFuzzyInput(&imuSensorDataObj3, &imuFuzzyDataObj3);
	IMU_CalculateFuzzyInput(&imuSensorDataObj4, &imuFuzzyDataObj4);

	wcDebug1 = IMU_CalculateFuzzyWc(&imuFuzzyDataObj1);
	wcDebug2 = IMU_CalculateFuzzyWc(&imuFuzzyDataObj2);
	wcDebug3 = IMU_CalculateFuzzyWc(&imuFuzzyDataObj3);
	wcDebug4 = IMU_CalculateFuzzyWc(&imuFuzzyDataObj4);

	RunTvcfFilter(&imuSensorDataObj1, &imuAngleDataObj1, &imuFuzzyDataObj1, IMU_CONTROL_PERIOD, ATTACH_CASE_SEL_1);
	RunTvcfFilter(&imuSensorDataObj2, &imuAngleDataObj2, &imuFuzzyDataObj2, IMU_CONTROL_PERIOD, ATTACH_CASE_SEL_2);
	RunTvcfFilter(&imuSensorDataObj3, &imuAngleDataObj3, &imuFuzzyDataObj3, IMU_CONTROL_PERIOD, ATTACH_CASE_SEL_3);
	RunTvcfFilter(&imuSensorDataObj4, &imuAngleDataObj4, &imuFuzzyDataObj4, IMU_CONTROL_PERIOD, ATTACH_CASE_SEL_4);

	SetUsedDegVel(&imuAngleDataObj1);
	SetUsedDegVel(&imuAngleDataObj2);
	SetUsedDegVel(&imuAngleDataObj3);
	SetUsedDegVel(&imuAngleDataObj4);

	return 0;
}

void us_Delay(uint32_t us_delay)
{
  uint32_t tickstart = DWT->CYCCNT/480;
  uint32_t wait = us_delay;

  while ((DWT->CYCCNT/480 - tickstart) < wait)
  {
  }
}

/* USER CODE END 4 */

/* MPU Configuration */

void MPU_Config(void)
{
  MPU_Region_InitTypeDef MPU_InitStruct = {0};

  /* Disables the MPU */
  HAL_MPU_Disable();

  /** Initializes and configures the Region and the memory to be protected
  */
  MPU_InitStruct.Enable = MPU_REGION_ENABLE;
  MPU_InitStruct.Number = MPU_REGION_NUMBER0;
  MPU_InitStruct.BaseAddress = 0x30000000;
  MPU_InitStruct.Size = MPU_REGION_SIZE_32KB;
  MPU_InitStruct.SubRegionDisable = 0x0;
  MPU_InitStruct.TypeExtField = MPU_TEX_LEVEL1;
  MPU_InitStruct.AccessPermission = MPU_REGION_FULL_ACCESS;
  MPU_InitStruct.DisableExec = MPU_INSTRUCTION_ACCESS_DISABLE;
  MPU_InitStruct.IsShareable = MPU_ACCESS_SHAREABLE;
  MPU_InitStruct.IsCacheable = MPU_ACCESS_NOT_CACHEABLE;
  MPU_InitStruct.IsBufferable = MPU_ACCESS_NOT_BUFFERABLE;

  HAL_MPU_ConfigRegion(&MPU_InitStruct);

  /** Initializes and configures the Region and the memory to be protected
  */
  MPU_InitStruct.Number = MPU_REGION_NUMBER1;
  MPU_InitStruct.BaseAddress = 0x38000000;
  MPU_InitStruct.Size = MPU_REGION_SIZE_64KB;

  HAL_MPU_ConfigRegion(&MPU_InitStruct);
  /* Enables the MPU */
  HAL_MPU_Enable(MPU_PRIVILEGED_DEFAULT);

}

void Error_Handler(void)
{
  __disable_irq();
  while (1)
  {
  }
}
